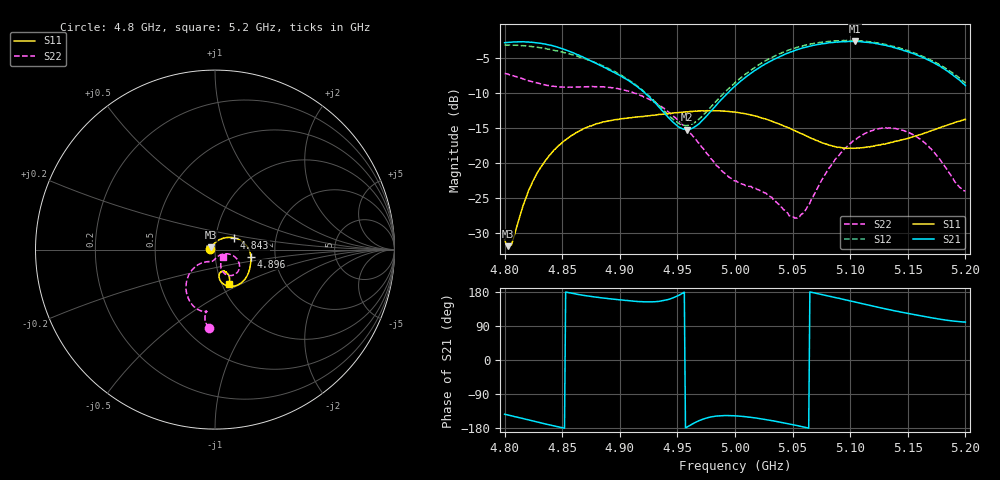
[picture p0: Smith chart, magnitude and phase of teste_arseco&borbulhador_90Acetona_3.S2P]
! Network Analyzer HP8722D
! Hewlett-Packard
! Data name: Linha & Wilkinson
! Saver's name: Rodrigo Anjos
! Comments: Teste da utilização de aquisição
! continua pelo VNA HP8722D
! Time and date: 17/4/2025 11:04
!  Frequency  S11  S21  S12  S22
# HZ  S  MA R 50
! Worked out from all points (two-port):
!   401 points, 4.8 GHz to 5.2 GHz, reference 50 ohm
!   highest |S21| = -2.64 dB at 5.104 GHz (marker M1); lowest = -15.2 dB at 4.958 GHz (marker M2)
!   |S21| within 3 dB of the highest: start of sweep to 4.878 GHz; 5.029 GHz to 5.172 GHz (143.1 MHz wide, 2.81 % of centre)
!   lowest |S11| = -31.9 dB at 4.803 GHz (marker M3), VSWR 1.05, Z = 47.8 + j1.15 ohm
!   |S11| at or under -10 dB: start of sweep to end of sweep
!   |S22| runs from -27.9 to -7.2 dB; largest |S21 - S12| = 0.086
!   S11 on the Smith chart (normalised r, x): 4.8 GHz: 0.95, +0.00; 4.843 GHz: 1.22, +0.16; 4.896 GHz: 1.49, -0.12; 5.2 GHz: 1.08, -0.43
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4.8e9  0.02828 178.0  0.7214 -143.1  0.6943 -140.8  0.4355 -94.6
4.803e9  0.02548 151.8  0.7263 -145.1  0.6929 -143.0  0.4301 -95.2
4.807e9  0.0278 118.3  0.729 -148.1  0.693 -145.8  0.4198 -96.3
4.818e9  0.05483 70.7  0.731 -156.1  0.6859 -153.0  0.3935 -98.1
4.826e9  0.07829 54.2  0.724 -161.9  0.6719 -157.9  0.3765 -98.5
4.843e9  0.1241 31.7  0.6816 -174.1  0.6368 -167.9  0.3521 -98.0
4.867e9  0.1724 9.5  0.576 171.4  0.5638 179.2  0.349 -98.8
4.896e9  0.2039 -11.2  0.4382 160.1  0.4474 166.0  0.3416 -108.9
4.934e9  0.2222 -29.6  0.2503 154.7  0.2569 161.3  0.2582 -128.7
4.949e9  0.2282 -36.1  0.1869 167.8  0.1969 173.9  0.2078 -135.5
4.958e9  0.2318 -40.3  0.1728 -177.7  0.185 -172.0  0.1754 -138.3
4.969e9  0.235 -45.7  0.191 -159.8  0.2064 -155.7  0.1373 -138.9
5e9  0.2307 -61.5  0.3538 -147.3  0.3738 -144.9  0.07424 -117.0
5.026e9  0.2069 -73.9  0.5075 -157.0  0.5345 -155.1  0.06124 -97.7
5.052e9  0.17 -81.1  0.6349 -171.8  0.6608 -170.9  0.04034 -60.8
5.06e9  0.1588 -81.7  0.6658 -177.0  0.6895 -176.2  0.04436 -38.7
5.067e9  0.149 -81.3  0.6882 178.3  0.709 179.0  0.05548 -25.6
5.086e9  0.1314 -77.0  0.7254 165.5  0.7422 166.3  0.1029 -18.1
5.104e9  0.1276 -70.9  0.7375 153.2  0.7479 154.2  0.1459 -26.6
5.134e9  0.1388 -63.8  0.679 132.8  0.6893 134.2  0.1779 -49.0
5.163e9  0.1618 -62.1  0.5645 115.5  0.5759 117.2  0.1431 -68.3
5.2e9  0.2042 -67.7  0.3562 100.0  0.372 101.0  0.06309 -41.8
